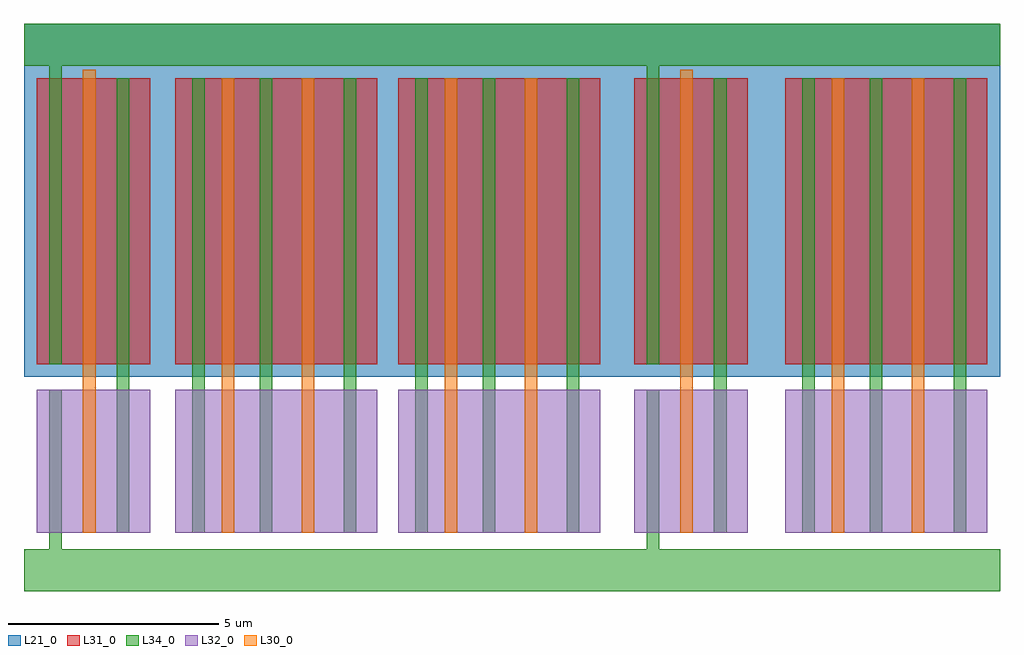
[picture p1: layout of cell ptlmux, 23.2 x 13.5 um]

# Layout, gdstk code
import gdstk
lib = gdstk.Library(unit=1e-6, precision=1e-09)
def R(c, l, rs):  # rectangles x0, y0, x1, y1
    for r in rs: c.add(gdstk.rectangle(r[:2], r[2:], *l))
def P(c, l, *ps):  # polygons
    for p in ps: c.add(gdstk.Polygon(p, *l))
L21_0 = (21, 0)
L30_0 = (30, 0)
L31_0 = (31, 0)
L32_0 = (32, 0)
L34_0 = (34, 0)

inv4x = lib.new_cell('inv4x')
R(inv4x, L21_0, [(0,-0.1,3.2,8.3)])
R(inv4x, L30_0, [(1.4,-3.8,1.7,7.2)])
R(inv4x, L31_0, [(0.3,0.2,3,7)])
R(inv4x, L32_0, [(0.3,-3.8,3,-0.4)])
R(inv4x, L34_0, [(2.2,-3.8,2.5,7)])
P(inv4x, L34_0, [(0.6,0.2),(0.6,7.3),(0,7.3),(0,8.3),(3.2,8.3),(3.2,7.3),(0.9,7.3),(0.9,0.2)],
  [(0,-5.2),(0,-4.2),(0.6,-4.2),(0.6,-0.4),(0.9,-0.4),(0.9,-4.2),(3.2,-4.2),(3.2,-5.2)])

ptlmux = lib.new_cell('ptlmux')
R(ptlmux, L21_0, [(-2.7,0.4,17.3,8.8)])
R(ptlmux, L30_0, [(-1.2,-3.3,-0.9,7.5), (0.7,-3.3,1,7.5), (4.1,-3.3,4.4,7.5), (6,-3.3,6.3,7.5), (13.3,-3.3,13.6,7.5), (15.2,-3.3,15.5,7.5)])
R(ptlmux, L31_0, [(-2.3,0.7,2.5,7.5), (3,0.7,7.8,7.5), (12.2,0.7,17,7.5)])
R(ptlmux, L32_0, [(-2.3,-3.3,2.5,0.1), (3,-3.3,7.8,0.1), (12.2,-3.3,17,0.1)])
R(ptlmux, L34_0, [(-2.7,-4.7,17.3,-3.7), (-1.9,-3.3,-1.6,7.5), (-0.3,-3.3,0,7.5), (1.7,-3.3,2,7.5), (3.4,-3.3,3.7,7.5), (5,-3.3,5.3,7.5), (7,-3.3,7.3,7.5), (12.6,-3.3,12.9,7.5), (14.2,-3.3,14.5,7.5), (16.2,-3.3,16.5,7.5), (-2.7,7.8,17.3,8.8)])
ptlmux.add(gdstk.Reference(inv4x, (-5.9,0.5)))
ptlmux.add(gdstk.Reference(inv4x, (8.3,0.5)))

lib.write_gds('ptlmux.gds')
